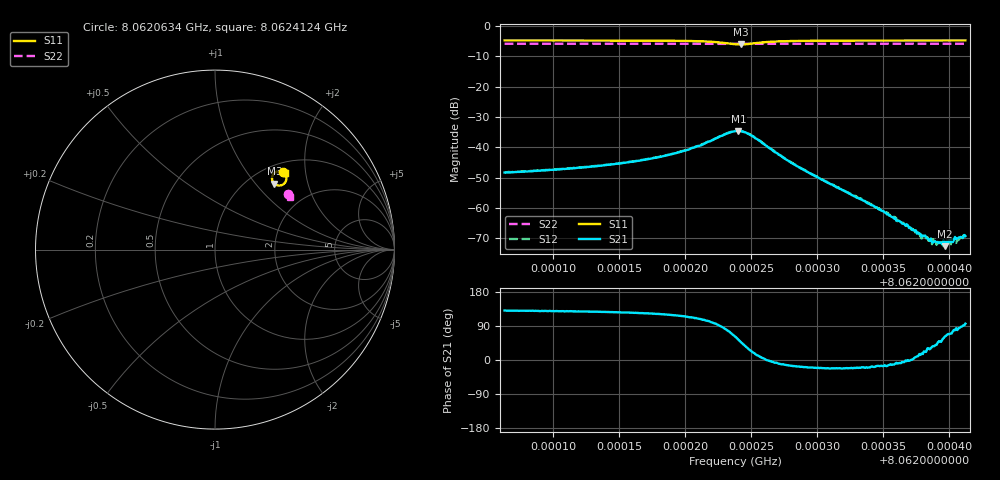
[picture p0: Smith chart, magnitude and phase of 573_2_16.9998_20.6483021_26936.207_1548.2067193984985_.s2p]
#  HZ  S  RI  R  50.00
! Rohde & Schwarz Vector Network Analyzer
! Rohde-Schwarz,ZNB20-2Port,1311601062101988,3.16
! Created: UTC 3/20/2024, 11:17:48 PM
! freq[Hz]  re:S11  im:S11  re:S21  im:S21  re:S12  im:S12  re:S22  im:S22
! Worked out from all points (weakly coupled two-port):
!   401 points, 8.0620634 GHz to 8.0624124 GHz, reference 50 ohm
!   highest |S21| = -34.61 dB at 8.0622405 GHz (marker M1); lowest = -72.6 dB at 8.0623967 GHz (marker M2)
!   lowest |S11| = -6.1 dB at 8.0622423 GHz (marker M3), VSWR 2.95, Z = 64.8 + j63 ohm
!   |S11| at or under -10 dB: nowhere
!   |S22| runs from -5.9 to -5.9 dB; largest |S21 - S12| = 0.0013
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8.06206341e9  0.3813 0.4317  -0.00249 0.0029  -0.0023 0.00309  0.4047 0.308
8.06212187e9  0.3869 0.426  -0.00284 0.00364  -0.00265 0.00386  0.4069 0.3047
8.06215328e9  0.3906 0.4209  -0.0032 0.00449  -0.00294 0.00469  0.408 0.303
8.06218033e9  0.3946 0.4134  -0.00357 0.00587  -0.00327 0.00613  0.4089 0.3014
8.06220563e9  0.398 0.3985  -0.00369 0.00902  -0.00314 0.00923  0.4098 0.2996
8.06222483e9  0.3892 0.3716  -0.000793 0.0144  1.77e-05 0.0145  0.4098 0.2974
8.06223791e9  0.3484 0.3579  0.00862 0.0163  0.00954 0.0158  0.4082 0.2969
8.06224053e9  0.3372 0.3623  0.0111 0.0149  0.0119 0.0143  0.4078 0.297
8.06224228e9  0.3305 0.3673  0.0123 0.0136  0.0132 0.013  0.4076 0.2973
8.062251e9  0.318 0.4019  0.0142 0.00552  0.0146 0.0047  0.4078 0.2985
8.06227631e9  0.3518 0.4365  0.00619 -0.00143  0.0062 -0.00183  0.4107 0.2985
8.06229637e9  0.3659 0.4362  0.00332 -0.0012  0.00327 -0.00143  0.412 0.2973
8.06233564e9  0.3778 0.4321  0.00123 -0.000443  0.00123 -0.000534  0.4137 0.2952
8.06235483e9  0.3812 0.4301  0.000735 -0.000171  0.000705 -0.000217  0.4146 0.2941
8.06236269e9  0.3823 0.4295  0.000596 -8.17e-05  0.000571 -8.79e-05  0.4149 0.2936
8.06237839e9  0.3843 0.4282  0.000361 8.63e-05  0.000333 5.6e-05  0.4153 0.2928
8.06238188e9  0.3849 0.428  0.000326 0.000128  0.000323 8.96e-05  0.4153 0.2927
8.06238537e9  0.3852 0.4276  0.00025 0.000134  0.000252 0.000149  0.4156 0.2922
8.06239497e9  0.3863 0.4268  0.000146 0.000202  0.000167 0.000218  0.416 0.2919
8.06239671e9  0.3865 0.4269  0.000112 0.000205  9.16e-05 0.000217  0.4161 0.2917
8.06240631e9  0.3875 0.426  5.94e-05 0.000305  2.71e-05 0.000297  0.4163 0.2913
8.06241242e9  0.388 0.4255  -3.61e-05 0.00034  2.07e-05 0.000342  0.4166 0.2909
